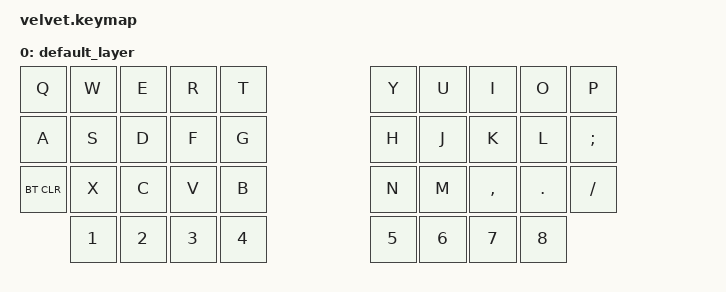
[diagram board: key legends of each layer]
#include <behaviors.dtsi>
#include <dt-bindings/zmk/keys.h>
#include <dt-bindings/zmk/bt.h>

/ {
    keymap {
        compatible = "zmk,keymap";

        default_layer {
            bindings = <
                &kp Q   &kp W  &kp E  &kp R  &kp T                 &kp Y  &kp U  &kp I      &kp O    &kp P
                &kp A   &kp S  &kp D  &kp F  &kp G                 &kp H  &kp J  &kp K      &kp L    &kp SEMI
           &bt BT_CLR   &kp X  &kp C  &kp V  &kp B                 &kp N  &kp M  &kp COMMA  &kp DOT  &kp FSLH
                        &kp N1 &kp N2 &kp N3 &kp N4                &kp N5 &kp N6 &kp N7     &kp N8
                >;
        };
    };
};
